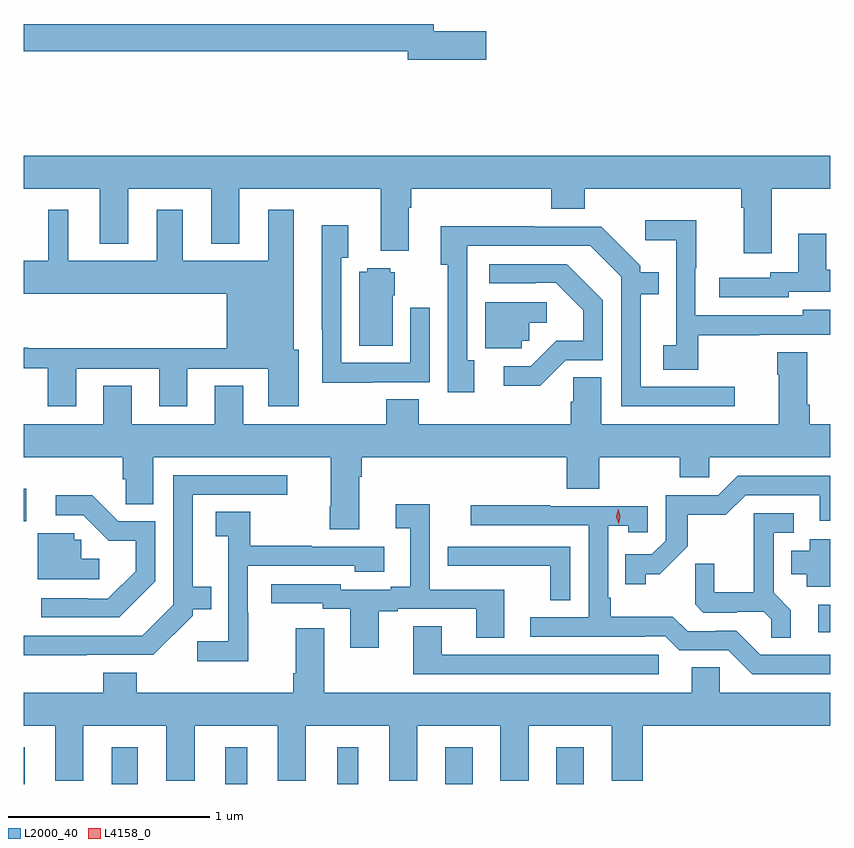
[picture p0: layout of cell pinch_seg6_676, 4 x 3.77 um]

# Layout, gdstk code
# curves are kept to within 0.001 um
import gdstk
lib = gdstk.Library(unit=1e-6, precision=1e-09)
def R(c, l, rs):  # rectangles x0, y0, x1, y1
    for r in rs: c.add(gdstk.rectangle(r[:2], r[2:], *l))
def P(c, l, *ps):  # polygons
    for p in ps: c.add(gdstk.Polygon(p, *l))
L2000_40 = (2000, 40)
L4158_0 = (4158, 0)

pinch_seg6_676 = lib.new_cell('pinch_seg6_676')
R(pinch_seg6_676, L2000_40, [(477.791,948.38,477.796,948.562), (478.229,948.38,478.357,948.562), (478.79,948.38,478.9,948.562), (479.345,948.38,479.449,948.562), (479.882,948.38,480.019,948.562), (480.431,948.38,480.568,948.562), (481.731,949.133,481.791,949.269), (477.791,949.682,477.805,949.843)])
P(pinch_seg6_676, L2000_40, [(480.085,952.112),(479.824,952.112),(479.824,952.148),(477.791,952.148),(477.791,952.012),(479.696,952.012),(479.696,951.97),(480.085,951.97)],
  [(481.501,951.332),(481.791,951.332),(481.791,951.496),(477.791,951.496),(477.791,951.332),(478.169,951.332),(478.169,951.059),(478.309,951.059),(478.309,951.332),(478.721,951.332),(478.721,951.059),(478.861,951.059),(478.861,951.332),(479.561,951.332),(479.561,951.023),(479.701,951.023),(479.701,951.236),(479.714,951.236),(479.714,951.332),(480.407,951.332),(480.407,951.233),(480.572,951.233),(480.572,951.332),(481.349,951.332),(481.349,951.236),(481.361,951.236),(481.361,951.012),(481.501,951.012)],
  [(478.051,950.439),(478.463,950.439),(478.463,950.253),(478.603,950.253),(478.603,950.439),(479.003,950.439),(479.003,950.253),(479.155,950.253),(479.155,950.532),(479.131,950.532),(479.131,951.226),(479.003,951.226),(479.003,950.974),(478.579,950.974),(478.579,951.226),(478.451,951.226),(478.451,950.974),(478.012,950.974),(478.012,951.226),(477.914,951.226),(477.914,950.974),(477.791,950.974),(477.791,950.81),(478.799,950.81),(478.799,950.54),(477.815,950.54),(477.815,950.543),(477.791,950.543),(477.791,950.442),(477.911,950.442),(477.911,950.253),(478.051,950.253)],
  [(481.135,950.605),(481.439,950.605),(481.439,950.607),(481.791,950.607),(481.791,950.731),(481.653,950.731),(481.653,950.703),(481.122,950.703),(481.122,950.936),(481.125,950.936),(481.125,951.175),(480.873,951.175),(480.873,951.077),(481.026,951.077),(481.026,950.556),(480.963,950.556),(480.963,950.434),(481.135,950.434)],
  [(479.521,950.373),(479.805,950.373),(479.805,950.74),(479.709,950.74),(479.709,950.469),(479.367,950.469),(479.367,950.99),(479.401,950.99),(479.401,951.151),(479.27,951.151),(479.27,950.632),(479.271,950.632),(479.271,950.369),(479.521,950.369)],
  [(481.318,950.349),(480.85,950.349),(480.85,950.808),(480.941,950.808),(480.941,950.917),(480.849,950.917),(480.849,950.949),(480.654,951.144),(480.323,951.144),(480.323,951.146),(479.858,951.146),(479.858,950.954),(479.895,950.954),(479.895,950.322),(480.025,950.322),(480.025,950.482),(479.991,950.482),(479.991,951.048),(480.6,951.048),(480.753,950.895),(480.753,950.253),(481.318,950.253)],
  [(481.584,950.82),(481.791,950.82),(481.791,950.929),(481.771,950.929),(481.771,951.109),(481.631,951.109),(481.631,950.916),(481.494,950.916),(481.494,950.889),(481.239,950.889),(481.239,950.793),(481.584,950.793)],
  [(480.48,950.481),(480.663,950.481),(480.663,950.779),(480.484,950.958),(480.099,950.958),(480.099,950.862),(480.329,950.862),(480.329,950.865),(480.429,950.865),(480.566,950.728),(480.566,950.578),(480.433,950.578),(480.306,950.451),(480.171,950.451),(480.171,950.354),(480.352,950.354)],
  [(479.62,950.802),(479.632,950.802),(479.632,950.916),(479.61,950.916),(479.61,950.938),(479.496,950.938),(479.496,950.92),(479.456,950.92),(479.456,950.554),(479.62,950.554)],
  [(480.261,950.577),(480.297,950.577),(480.297,950.666),(480.385,950.666),(480.385,950.769),(480.08,950.769),(480.08,950.541),(480.261,950.541)],
  [(478.879,950.354),(478.739,950.354),(478.739,950.164),(478.327,950.164),(478.327,950.354),(478.187,950.354),(478.187,950.164),(477.791,950.164),(477.791,950),(478.283,950),(478.283,949.89),(478.297,949.89),(478.297,949.768),(478.435,949.768),(478.435,950),(479.315,950),(479.315,949.756),(479.308,949.756),(479.308,949.644),(479.455,949.644),(479.455,949.904),(479.468,949.904),(479.468,950),(480.485,950),(480.485,949.843),(480.645,949.843),(480.645,950),(481.045,950),(481.045,949.902),(481.191,949.902),(481.191,950),(481.791,950),(481.791,950.164),(481.688,950.164),(481.688,950.26),(481.675,950.26),(481.675,950.521),(481.528,950.521),(481.528,950.408),(481.535,950.408),(481.535,950.164),(480.655,950.164),(480.655,950.396),(480.517,950.396),(480.517,950.274),(480.503,950.274),(480.503,950.164),(479.75,950.164),(479.75,950.288),(479.59,950.288),(479.59,950.164),(478.879,950.164)],
  [(478.103,949.02),(478.434,949.02),(478.629,949.215),(478.629,949.247),(478.721,949.247),(478.721,949.357),(478.63,949.357),(478.63,949.815),(479.098,949.815),(479.098,949.911),(478.533,949.911),(478.533,949.269),(478.38,949.116),(477.791,949.116),(477.791,949.019)],
  [(480.876,949.421),(480.946,949.421),(481.084,949.558),(481.084,949.714),(481.273,949.714),(481.371,949.812),(481.739,949.812),(481.739,949.686),(481.791,949.686),(481.791,949.908),(481.332,949.908),(481.236,949.812),(480.975,949.812),(480.975,949.587),(480.906,949.518),(480.775,949.518),(480.775,949.371),(480.876,949.371)],
  [(478.443,949.385),(478.443,949.683),(478.26,949.683),(478.132,949.811),(477.951,949.811),(477.951,949.713),(478.086,949.713),(478.213,949.586),(478.346,949.586),(478.346,949.436),(478.209,949.299),(478.109,949.299),(478.109,949.302),(477.879,949.302),(477.879,949.206),(478.264,949.206)],
  [(479.551,949.236),(479.647,949.236),(479.647,949.248),(480.035,949.248),(480.035,949.105),(480.175,949.105),(480.175,949.344),(479.805,949.344),(479.805,949.768),(479.637,949.768),(479.637,949.648),(479.708,949.648),(479.708,949.357),(479.612,949.357),(479.612,949.344),(479.364,949.344),(479.364,949.371),(479.019,949.371),(479.019,949.275),(479.274,949.275),(479.274,949.248),(479.411,949.248),(479.411,949.056),(479.551,949.056)],
  [(481.791,949.02),(481.443,949.02),(481.323,949.14),(481.222,949.14),(481.222,949.137),(481.083,949.137),(481.01,949.21),(480.703,949.21),(480.703,949.303),(480.69,949.303),(480.69,949.661),(480.789,949.661),(480.789,949.629),(480.885,949.629),(480.885,949.758),(480.401,949.758),(480.401,949.761),(480.009,949.761),(480.009,949.662),(480.594,949.662),(480.594,949.206),(480.303,949.206),(480.303,949.11),(480.872,949.11),(480.872,949.113),(480.972,949.113),(481.041,949.044),(481.284,949.044),(481.404,948.924),(481.791,948.924)],
  [(478.905,949.229),(478.902,949.229),(478.902,949.461),(479.433,949.461),(479.433,949.433),(479.578,949.433),(479.578,949.557),(479.219,949.557),(479.219,949.56),(478.915,949.56),(478.915,949.73),(478.743,949.73),(478.743,949.609),(478.806,949.609),(478.806,949.087),(478.653,949.087),(478.653,948.989),(478.905,948.989)],
  [(481.595,949.241),(481.509,949.327),(481.509,949.626),(481.609,949.626),(481.609,949.722),(481.412,949.722),(481.412,949.33),(481.214,949.33),(481.214,949.473),(481.12,949.473),(481.12,949.271),(481.161,949.23),(481.326,949.23),(481.326,949.233),(481.46,949.233),(481.497,949.196),(481.497,949.105),(481.595,949.105)],
  [(478.165,949.498),(478.077,949.498),(478.077,949.59),(478.041,949.59),(478.041,949.623),(477.86,949.623),(477.86,949.395),(478.165,949.395)],
  [(481.791,949.594),(481.688,949.594),(481.688,949.537),(481.598,949.537),(481.598,949.421),(481.673,949.421),(481.673,949.358),(481.791,949.358)],
  [(480.501,949.557),(479.895,949.557),(479.895,949.462),(480.007,949.462),(480.007,949.461),(480.403,949.461),(480.403,949.291),(480.501,949.291)],
  [(480.94,949.02),(479.863,949.02),(479.863,949.163),(479.723,949.163),(479.723,948.924),(480.94,948.924)],
  [(478.087,948.668),(478.499,948.668),(478.499,948.395),(478.639,948.395),(478.639,948.668),(479.051,948.668),(479.051,948.395),(479.191,948.395),(479.191,948.668),(479.603,948.668),(479.603,948.395),(479.743,948.395),(479.743,948.668),(480.155,948.668),(480.155,948.395),(480.295,948.395),(480.295,948.668),(480.707,948.668),(480.707,948.395),(480.86,948.395),(480.86,948.668),(481.791,948.668),(481.791,948.832),(481.242,948.832),(481.242,948.959),(481.103,948.959),(481.103,948.832),(479.281,948.832),(479.281,949.153),(479.141,949.153),(479.141,948.928),(479.129,948.928),(479.129,948.832),(478.352,948.832),(478.352,948.931),(478.187,948.931),(478.187,948.832),(477.791,948.832),(477.791,948.668),(477.947,948.668),(477.947,948.395),(478.087,948.395)])
P(pinch_seg6_676, L4158_0, [(480.741,949.671),(480.741,949.671),(480.73,949.706),(480.74,949.742),(480.74,949.743),(480.74,949.742),(480.75,949.707),(480.741,949.671)])

lib.write_gds('pinch_seg6_676.gds')
